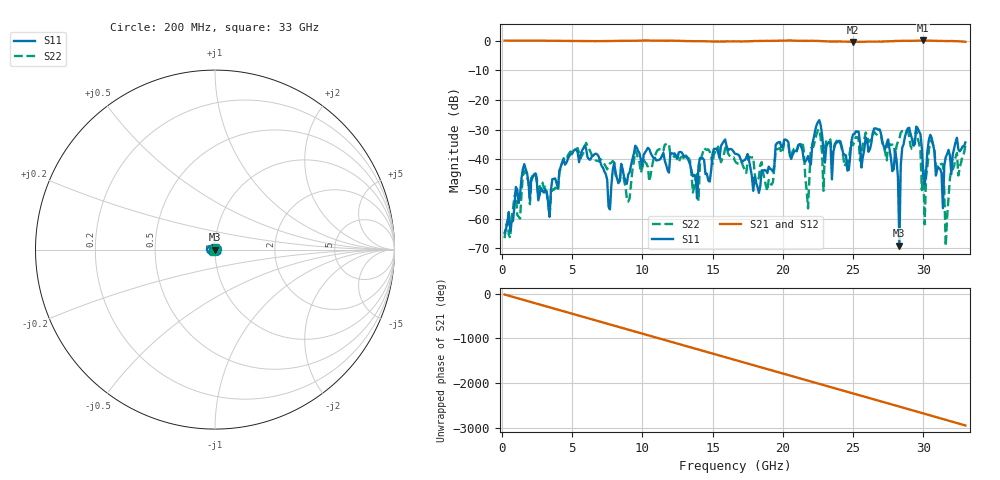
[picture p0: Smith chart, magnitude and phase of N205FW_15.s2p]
# GHZ S RI R 50
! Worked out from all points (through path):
!   329 points, 200 MHz to 33 GHz, reference 50 ohm
!   highest |S21| = 0.03 dB at 30 GHz (marker M1); lowest = -0.5 dB at 25 GHz (marker M2)
!   group delay of S21, straight-line fit = 248 ps
!   lowest |S11| = -69.1 dB at 28.3 GHz (marker M3), VSWR 1.00, Z = 50 + j0.000832 ohm
!   |S11| at or under -10 dB: start of sweep to end of sweep
!   |S22| runs from -69.3 to -29.9 dB; largest |S21 - S12| = 0.0022
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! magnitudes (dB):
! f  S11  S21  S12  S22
! 200 MHz  -64.8  0.0  0.0  -66.6
! 1.6 GHz  -41.7  0.0  0.0  -43.9
! 5.7 GHz  -37.2  -0.2  -0.2  -38.8
! 7.7 GHz  -56.9  -0.2  -0.2  -41.4
! 11.2 GHz  -40.2  0.0  0.0  -36.7
! 16.6 GHz  -38.2  -0.3  -0.3  -40.6
! 21.4 GHz  -36.9  -0.1  -0.1  -34.1
! 21.8 GHz  -38.9  -0.1  -0.1  -56.6
! 22.1 GHz  -35.1  -0.1  -0.1  -36.2
! 25 GHz  -31.7  -0.5  -0.5  -35.3
! 27.6 GHz  -36.7  -0.2  -0.2  -34.9
! 28.1 GHz  -40.4  -0.1  -0.1  -35.5
! 28.3 GHz  -69.1  -0.1  -0.1  -33.1
! 28.4 GHz  -42.0  -0.1  -0.1  -31.0
! 28.8 GHz  -30.7  -0.1  -0.1  -30.1
! 30 GHz  -44.3  0.0  0.0  -43.1
! 30.1 GHz  -48.5  0.0  0.0  -61.9
! 30.5 GHz  -31.8  0.0  0.0  -33.7
! 31.4 GHz  -56.5  -0.2  -0.2  -41.7
! 31.6 GHz  -39.4  -0.2  -0.2  -69.3
! 32 GHz  -45.0  -0.1  -0.1  -43.3
! 33 GHz  -34.3  -0.4  -0.4  -35.3
